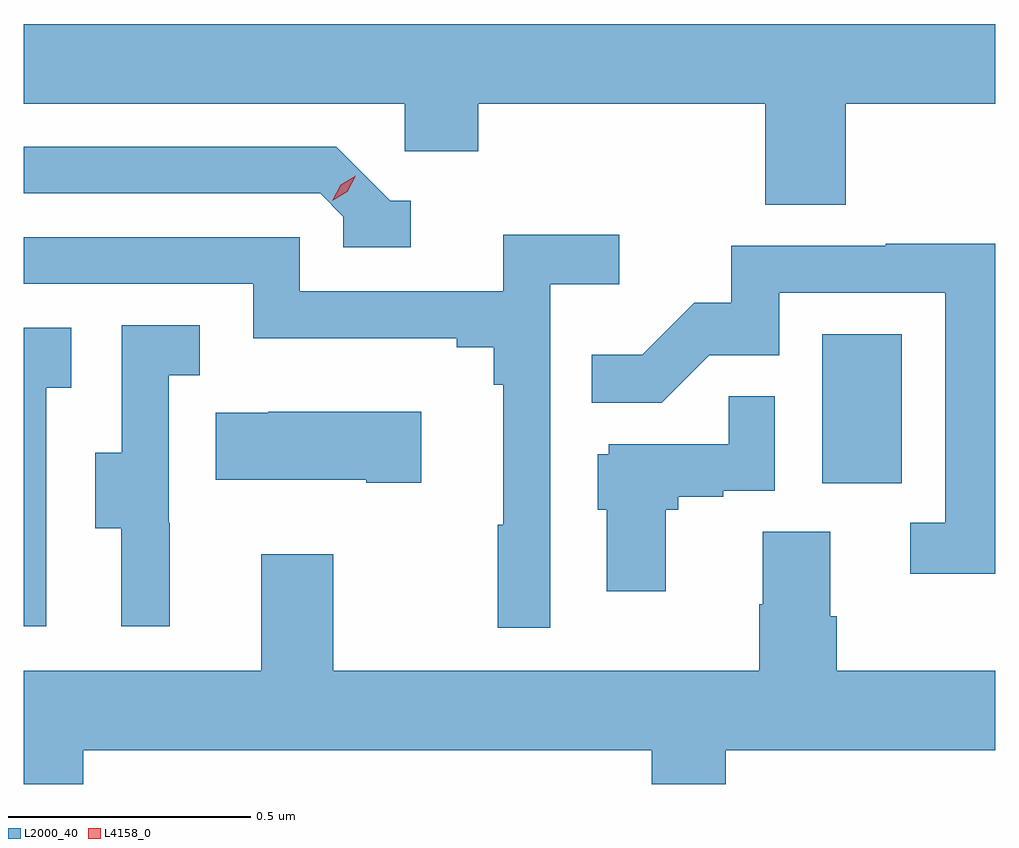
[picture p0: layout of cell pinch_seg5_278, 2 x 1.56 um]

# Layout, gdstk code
import gdstk
lib = gdstk.Library(unit=1e-6, precision=1e-09)
def R(c, l, rs):  # rectangles x0, y0, x1, y1
    for r in rs: c.add(gdstk.rectangle(r[:2], r[2:], *l))
def P(c, l, *ps):  # polygons
    for p in ps: c.add(gdstk.Polygon(p, *l))
L2000_40 = (2000, 40)
L4158_0 = (4158, 0)

pinch_seg5_278 = lib.new_cell('pinch_seg5_278')
R(pinch_seg5_278, L2000_40, [(892.19,897.27,892.354,897.577)])
P(pinch_seg5_278, L2000_40, [(892.238,898.052),(892.546,898.052),(892.546,898.216),(890.546,898.216),(890.546,898.052),(891.33,898.052),(891.33,897.954),(891.482,897.954),(891.482,898.052),(892.073,898.052),(892.073,897.844),(892.238,897.844)],
  [(891.343,897.852),(891.3,897.852),(891.189,897.963),(890.546,897.963),(890.546,897.867),(891.156,897.867),(891.204,897.819),(891.204,897.756),(891.343,897.756)],
  [(891.63,897.68),(891.772,897.68),(891.772,897.782),(891.533,897.782),(891.533,897.666),(891.114,897.666),(891.114,897.777),(890.546,897.777),(890.546,897.681),(891.018,897.681),(891.018,897.569),(891.437,897.569),(891.437,897.55),(891.514,897.55),(891.514,897.473),(891.533,897.473),(891.533,897.185),(891.522,897.185),(891.522,896.973),(891.63,896.973)],
  [(892.546,897.764),(892.321,897.764),(892.321,897.759),(892.003,897.759),(892.003,897.642),(891.926,897.642),(891.819,897.535),(891.715,897.535),(891.715,897.436),(891.859,897.436),(891.957,897.534),(892.101,897.534),(892.101,897.663),(892.443,897.663),(892.443,897.189),(892.371,897.189),(892.371,897.084),(892.546,897.084)],
  [(890.846,897.189),(890.844,897.189),(890.844,897.493),(890.908,897.493),(890.908,897.596),(890.748,897.596),(890.748,897.333),(890.693,897.333),(890.693,897.178),(890.747,897.178),(890.747,896.976),(890.846,896.976)],
  [(890.592,897.467),(890.644,897.467),(890.644,897.591),(890.546,897.591),(890.546,896.976),(890.592,896.976)],
  [(891.868,897.216),(891.894,897.216),(891.894,897.243),(891.986,897.243),(891.986,897.255),(892.092,897.255),(892.092,897.449),(891.997,897.449),(891.997,897.351),(891.75,897.351),(891.75,897.33),(891.728,897.33),(891.728,897.216),(891.746,897.216),(891.746,897.048),(891.868,897.048)],
  [(891.364,897.418),(891.049,897.418),(891.049,897.415),(890.941,897.415),(890.941,897.278),(891.251,897.278),(891.251,897.271),(891.364,897.271)],
  [(892.067,897.17),(892.067,897.021),(892.06,897.021),(892.06,896.884),(891.183,896.884),(891.183,897.124),(891.035,897.124),(891.035,896.884),(890.546,896.884),(890.546,896.651),(890.668,896.651),(890.668,896.72),(891.839,896.72),(891.839,896.651),(891.991,896.651),(891.991,896.72),(892.546,896.72),(892.546,896.884),(892.22,896.884),(892.22,896.996),(892.207,896.996),(892.207,897.17)])
P(pinch_seg5_278, L4158_0, [(891.181,897.852),(891.181,897.852),(891.198,897.885),(891.229,897.904),(891.229,897.904),(891.229,897.904),(891.212,897.871),(891.181,897.852)])

lib.write_gds('pinch_seg5_278.gds')
